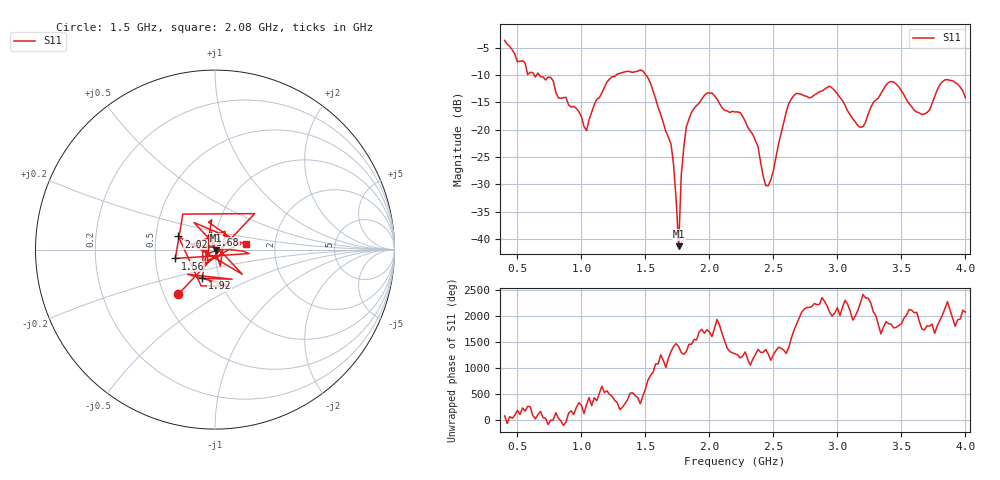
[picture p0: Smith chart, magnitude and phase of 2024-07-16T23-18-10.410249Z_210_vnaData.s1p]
!Created with skrf (http://scikit-rf.org).
# Hz S RI R 50.0
!freq ReS11 ImS11
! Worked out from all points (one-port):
!   181 points, 400 MHz to 4 GHz, reference 50 ohm
!   lowest |S11| = -41.3 dB at 1.76 GHz (marker M1), VSWR 1.02, Z = 50.7 - j0.485 ohm
!   |S11| at or under -10 dB: 630.7 MHz to 650 MHz (19.26 MHz wide, 3.01 % of centre); 671 MHz to 1.272 GHz (600.8 MHz wide, 61.8 % of centre); 1.505 GHz to end of sweep
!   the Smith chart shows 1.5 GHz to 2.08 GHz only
!   S11 on the Smith chart (normalised r, x): 1.5 GHz: 0.59, -0.33; 1.56 GHz: 0.64, -0.07; 1.68 GHz: 0.94, +0.15; 1.92 GHz: 0.83, -0.27; 2.02 GHz: 0.65, +0.10; 2.08 GHz: 1.41, +0.08
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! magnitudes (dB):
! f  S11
! 400 MHz  -3.7
! 580 MHz  -9.9
! 860 MHz  -14.1
! 1.04 GHz  -20.1
! 1.12 GHz  -14.4
! 1.3 GHz  -9.7
! 1.5 GHz  -9.8
! 1.56 GHz  -12.9
! 1.68 GHz  -21.4
! 1.72 GHz  -26.3
! 1.76 GHz  -41.3
! 1.78 GHz  -28.3
! 1.82 GHz  -19.4
! 1.92 GHz  -15.1
! 2.02 GHz  -13.3
! 2.08 GHz  -15.3
! 2.2 GHz  -16.8
! 2.34 GHz  -20.9
! 2.46 GHz  -30.2
! 2.66 GHz  -13.7
! 2.94 GHz  -12.0
! 3.1 GHz  -17.3
! 3.2 GHz  -19.4
! 3.42 GHz  -11.2
! 3.56 GHz  -15.2
! 3.7 GHz  -16.9
! 3.84 GHz  -10.9
! 4 GHz  -14.1
